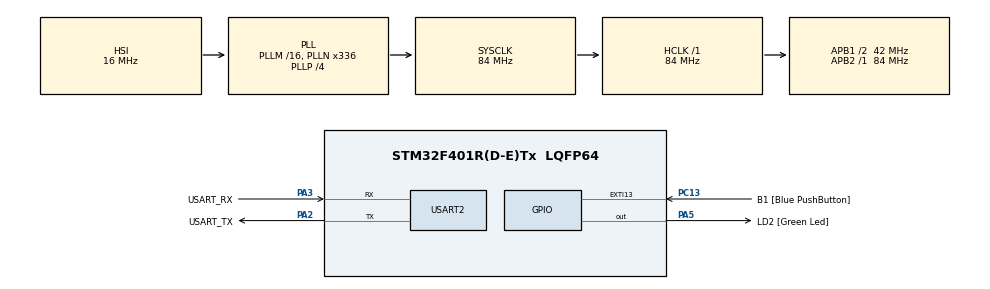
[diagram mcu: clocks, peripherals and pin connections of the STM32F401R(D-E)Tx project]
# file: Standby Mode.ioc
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Mcu.Family=STM32F4
Mcu.Name=STM32F401R(D-E)Tx
Mcu.Package=LQFP64
NVIC.PriorityGroup=NVIC_PRIORITYGROUP_0
NVIC.RTC_WKUP_IRQn=true\:0\:0\:false\:false\:true\:true\:true\:true
PA13.GPIO_Label=TMS
PA13.Signal=SYS_JTMS-SWDIO
PA14.GPIO_Label=TCK
PA14.Signal=SYS_JTCK-SWCLK
PA2.GPIO_Label=USART_TX
PA2.GPIO_Mode=GPIO_MODE_AF_PP
PA2.GPIO_PuPd=GPIO_NOPULL
PA2.GPIO_Speed=GPIO_SPEED_FREQ_LOW
PA2.Mode=Asynchronous
PA2.Signal=USART2_TX
PA3.GPIO_Label=USART_RX
PA3.GPIO_Mode=GPIO_MODE_AF_PP
PA3.GPIO_PuPd=GPIO_NOPULL
PA3.GPIO_Speed=GPIO_SPEED_FREQ_LOW
PA3.Mode=Asynchronous
PA3.Signal=USART2_RX
PA5.GPIO_Label=LD2 [Green Led]
PA5.GPIO_Mode=GPIO_MODE_OUTPUT_PP
PA5.GPIO_PuPd=GPIO_NOPULL
PA5.GPIO_Speed=GPIO_SPEED_FREQ_LOW
PA5.Signal=GPIO_Output
PB3.GPIO_Label=SWO
PB3.Signal=SYS_JTDO-SWO
PC13-ANTI_TAMP.GPIO_Label=B1 [Blue PushButton]
PC13-ANTI_TAMP.GPIO_ModeDefaultEXTI=GPIO_MODE_IT_FALLING
PC13-ANTI_TAMP.GPIO_PuPd=GPIO_NOPULL
PC13-ANTI_TAMP.Signal=GPXTI13
PC14-OSC32_IN.Signal=RCC_OSC32_IN
PC15-OSC32_OUT.Signal=RCC_OSC32_OUT
PH0\ -\ OSC_IN.Signal=RCC_OSC_IN
PH1\ -\ OSC_OUT.Signal=RCC_OSC_OUT
ProjectManager.HeapSize=0x200
ProjectManager.StackSize=0x400
ProjectManager.TargetToolchain=STM32CubeIDE
RCC.AHBFreq_Value=84000000
RCC.APB1CLKDivider=RCC_HCLK_DIV2
RCC.APB1Freq_Value=42000000
RCC.APB1TimFreq_Value=84000000
RCC.APB2Freq_Value=84000000
RCC.APB2TimFreq_Value=84000000
RCC.CortexFreq_Value=84000000
RCC.HCLKFreq_Value=84000000
RCC.HSE_VALUE=8000000
RCC.HSI_VALUE=16000000
RCC.LSE_VALUE=32768
RCC.PLLN=336
RCC.PLLP=RCC_PLLP_DIV4
RCC.PLLQ=7
RCC.SYSCLKFreq_VALUE=84000000
RCC.SYSCLKSource=RCC_SYSCLKSOURCE_PLLCLK
RCC.VCOOutputFreq_Value=336000000
USART2.VirtualMode=VM_ASYNC
VP_RTC_VS_RTC_Activate.Mode=RTC_Enabled
VP_RTC_VS_RTC_WakeUp_intern.Mode=WakeUp
board=NUCLEO-F401RE

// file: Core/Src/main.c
/* USER CODE BEGIN Header */
/**
  ******************************************************************************
  * @file           : main.c
  * @brief          : Main program body
  ******************************************************************************
  * @attention
  *
  * <h2><center>&copy; Copyright (c) 2021 STMicroelectronics.
  * All rights reserved.</center></h2>
  *
  * This software component is licensed by ST under BSD 3-Clause license,
  * the "License"; You may not use this file except in compliance with the
  * License. You may obtain a copy of the License at:
  *                        opensource.org/licenses/BSD-3-Clause
  *
  ******************************************************************************
  */
/* USER CODE END Header */
#include "main.h"

RTC_HandleTypeDef hrtc;

UART_HandleTypeDef huart2;

void SystemClock_Config(void);
static void MX_GPIO_Init(void);
static void MX_RTC_Init(void);
static void MX_USART2_UART_Init(void);

int main(void)
{

  /* MCU Configuration--------------------------------------------------------*/

  /* Reset of all peripherals, Initializes the Flash interface and the Systick. */
  HAL_Init();

  /* Configure the system clock */
  SystemClock_Config();

  /* Initialize all configured peripherals */
  MX_GPIO_Init();
  MX_RTC_Init();
  MX_USART2_UART_Init();
  /* USER CODE BEGIN 2 */

  uint8_t buffertx[100];

  if (__HAL_PWR_GET_FLAG(PWR_FLAG_SB) != RESET)
    {
  	  __HAL_PWR_CLEAR_FLAG(PWR_FLAG_SB);  // clear the flag

  	  /** display  the string **/
  	  sprintf(buffertx, "Wakeup from the STANDBY MODE\n\n");
  	  HAL_UART_Transmit(&huart2, buffertx, strlen (buffertx), 1000);

  	  /** Blink the LED **/
  	  for (int i=0; i<20; i++)
  	  {
  		  HAL_GPIO_TogglePin(GPIOA, GPIO_PIN_5);
  		  HAL_Delay(200);
  	  }

  	  /** Disable the WWAKEUP PIN **/
  	  HAL_PWR_DisableWakeUpPin(PWR_WAKEUP_PIN1);  // disable PA0

  	  /** Deactivate the RTC wakeup  **/
  	  HAL_RTCEx_DeactivateWakeUpTimer(&hrtc);
    }

    /** Now enter the standby mode **/
     /* Clear the WU FLAG */
    __HAL_PWR_CLEAR_FLAG(PWR_FLAG_WU);

     /* clear the RTC Wake UP (WU) flag */
    __HAL_RTC_WAKEUPTIMER_CLEAR_FLAG(&hrtc, RTC_FLAG_WUTF);

     /* Display the string */
    sprintf(buffertx,"About to enter the STANDBY MODE\n\n");
    HAL_UART_Transmit(&huart2, buffertx, strlen (buffertx), 1000);

     /* Blink the LED */
    for (int i=0; i<5; i++)
    {
  	  HAL_GPIO_TogglePin(GPIOA, GPIO_PIN_5);
  	  HAL_Delay(750);
    }

     /* Enable the WAKEUP PIN */
    HAL_PWR_EnableWakeUpPin(PWR_WAKEUP_PIN1);

    /* enable the RTC Wakeup */
      /*  RTC Wake-up Interrupt Generation:
        Wake-up Time Base = (RTC_WAKEUPCLOCK_RTCCLK_DIV /(LSI))
        ==> WakeUpCounter = Wake-up Time / Wake-up Time Base

        Exaple: To configure the wake up timer to 5s the WakeUpCounter is set to 0x2710:
        RTC_WAKEUPCLOCK_RTCCLK_DIV = RTCCLK_Div16 = 16
        Wake-up Time Base = 16 /(32KHz) = 0.0005 seconds
        ==> WakeUpCounter = ~10s/0.0005s = 40000 = 0x4E20
      */
    if (HAL_RTCEx_SetWakeUpTimer_IT(&hrtc, 0X4E20, RTC_WAKEUPCLOCK_RTCCLK_DIV16) != HAL_OK)
    {
      Error_Handler();
    }

     /* one last string to be sure */

    sprintf(buffertx,"STANDBY MODE is ON\n\n");
    HAL_UART_Transmit(&huart2, buffertx, strlen (buffertx), 1000);

     /* Finally enter the standby mode */
    HAL_PWR_EnterSTANDBYMode();

  /* USER CODE END 2 */

  /* Infinite loop */
  while (1)
  {

  }
}

void SystemClock_Config(void)
{
  RCC_OscInitTypeDef RCC_OscInitStruct = {0};
  RCC_ClkInitTypeDef RCC_ClkInitStruct = {0};

  /** Configure the main internal regulator output voltage
  */
  __HAL_RCC_PWR_CLK_ENABLE();
  __HAL_PWR_VOLTAGESCALING_CONFIG(PWR_REGULATOR_VOLTAGE_SCALE2);

  /** Initializes the RCC Oscillators according to the specified parameters
  * in the RCC_OscInitTypeDef structure.
  */
  RCC_OscInitStruct.OscillatorType = RCC_OSCILLATORTYPE_HSI|RCC_OSCILLATORTYPE_LSI;
  RCC_OscInitStruct.HSIState = RCC_HSI_ON;
  RCC_OscInitStruct.HSICalibrationValue = RCC_HSICALIBRATION_DEFAULT;
  RCC_OscInitStruct.LSIState = RCC_LSI_ON;
  RCC_OscInitStruct.PLL.PLLState = RCC_PLL_ON;
  RCC_OscInitStruct.PLL.PLLSource = RCC_PLLSOURCE_HSI;
  RCC_OscInitStruct.PLL.PLLM = 16;
  RCC_OscInitStruct.PLL.PLLN = 336;
  RCC_OscInitStruct.PLL.PLLP = RCC_PLLP_DIV4;
  RCC_OscInitStruct.PLL.PLLQ = 7;
  if (HAL_RCC_OscConfig(&RCC_OscInitStruct) != HAL_OK)
  {
    Error_Handler();
  }

  /** Initializes the CPU, AHB and APB buses clocks
  */
  RCC_ClkInitStruct.ClockType = RCC_CLOCKTYPE_HCLK|RCC_CLOCKTYPE_SYSCLK
                              |RCC_CLOCKTYPE_PCLK1|RCC_CLOCKTYPE_PCLK2;
  RCC_ClkInitStruct.SYSCLKSource = RCC_SYSCLKSOURCE_PLLCLK;
  RCC_ClkInitStruct.AHBCLKDivider = RCC_SYSCLK_DIV1;
  RCC_ClkInitStruct.APB1CLKDivider = RCC_HCLK_DIV2;
  RCC_ClkInitStruct.APB2CLKDivider = RCC_HCLK_DIV1;

  if (HAL_RCC_ClockConfig(&RCC_ClkInitStruct, FLASH_LATENCY_2) != HAL_OK)
  {
    Error_Handler();
  }
}

static void MX_RTC_Init(void)
{

  RTC_TimeTypeDef sTime = {0};
  RTC_DateTypeDef sDate = {0};

  /** Initialize RTC Only
  */
  hrtc.Instance = RTC;
  hrtc.Init.HourFormat = RTC_HOURFORMAT_24;
  hrtc.Init.AsynchPrediv = 127;
  hrtc.Init.SynchPrediv = 255;
  hrtc.Init.OutPut = RTC_OUTPUT_DISABLE;
  hrtc.Init.OutPutPolarity = RTC_OUTPUT_POLARITY_HIGH;
  hrtc.Init.OutPutType = RTC_OUTPUT_TYPE_OPENDRAIN;
  if (HAL_RTC_Init(&hrtc) != HAL_OK)
  {
    Error_Handler();
  }

  /** Initialize RTC and set the Time and Date
  */
  sTime.Hours = 0x0;
  sTime.Minutes = 0x0;
  sTime.Seconds = 0x0;
  sTime.DayLightSaving = RTC_DAYLIGHTSAVING_NONE;
  sTime.StoreOperation = RTC_STOREOPERATION_RESET;
  if (HAL_RTC_SetTime(&hrtc, &sTime, RTC_FORMAT_BCD) != HAL_OK)
  {
    Error_Handler();
  }
  sDate.WeekDay = RTC_WEEKDAY_MONDAY;
  sDate.Month = RTC_MONTH_JANUARY;
  sDate.Date = 0x1;
  sDate.Year = 0x0;

  if (HAL_RTC_SetDate(&hrtc, &sDate, RTC_FORMAT_BCD) != HAL_OK)
  {
    Error_Handler();
  }

  /** Enable the WakeUp
  */
  if (HAL_RTCEx_SetWakeUpTimer_IT(&hrtc, 0, RTC_WAKEUPCLOCK_RTCCLK_DIV16) != HAL_OK)
  {
    Error_Handler();
  }

}

static void MX_USART2_UART_Init(void)
{

  huart2.Instance = USART2;
  huart2.Init.BaudRate = 115200;
  huart2.Init.WordLength = UART_WORDLENGTH_8B;
  huart2.Init.StopBits = UART_STOPBITS_1;
  huart2.Init.Parity = UART_PARITY_NONE;
  huart2.Init.Mode = UART_MODE_TX_RX;
  huart2.Init.HwFlowCtl = UART_HWCONTROL_NONE;
  huart2.Init.OverSampling = UART_OVERSAMPLING_16;
  if (HAL_UART_Init(&huart2) != HAL_OK)
  {
    Error_Handler();
  }

}

static void MX_GPIO_Init(void)
{
  GPIO_InitTypeDef GPIO_InitStruct = {0};

  /* GPIO Ports Clock Enable */
  __HAL_RCC_GPIOC_CLK_ENABLE();
  __HAL_RCC_GPIOH_CLK_ENABLE();
  __HAL_RCC_GPIOA_CLK_ENABLE();
  __HAL_RCC_GPIOB_CLK_ENABLE();

  /*Configure GPIO pin Output Level */
  HAL_GPIO_WritePin(LD2_GPIO_Port, LD2_Pin, GPIO_PIN_RESET);

  /*Configure GPIO pin : B1_Pin */
  GPIO_InitStruct.Pin = B1_Pin;
  GPIO_InitStruct.Mode = GPIO_MODE_IT_FALLING;
  GPIO_InitStruct.Pull = GPIO_NOPULL;
  HAL_GPIO_Init(B1_GPIO_Port, &GPIO_InitStruct);

  /*Configure GPIO pin : LD2_Pin */
  GPIO_InitStruct.Pin = LD2_Pin;
  GPIO_InitStruct.Mode = GPIO_MODE_OUTPUT_PP;
  GPIO_InitStruct.Pull = GPIO_NOPULL;
  GPIO_InitStruct.Speed = GPIO_SPEED_FREQ_LOW;
  HAL_GPIO_Init(LD2_GPIO_Port, &GPIO_InitStruct);

}

void Error_Handler(void)
{
  __disable_irq();
  while (1)
  {
  }
}
